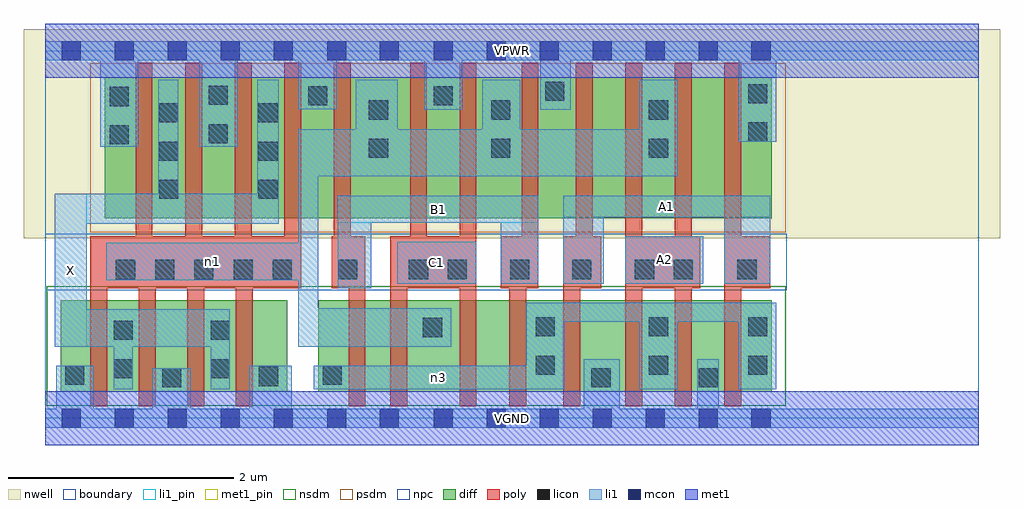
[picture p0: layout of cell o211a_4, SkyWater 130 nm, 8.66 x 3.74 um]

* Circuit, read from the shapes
.subckt o211a_4 A1 A2 B1 C1 VGND VPWR X n1 n3
XM1 X n1 VGND VSUBS sky130_fd_pr__nfet_01v8 w=0.81 l=0.15 m=4
XM2 n2 B1 n3 VSUBS sky130_fd_pr__nfet_01v8 w=0.81 l=0.15
XM3 n1 C1 n2 VSUBS sky130_fd_pr__nfet_01v8 w=0.81 l=0.15
XM4 n4 C1 n1 VSUBS sky130_fd_pr__nfet_01v8 w=0.81 l=0.15
XM5 n3 B1 n4 VSUBS sky130_fd_pr__nfet_01v8 w=0.81 l=0.15
XM6 VGND A1 n3 VSUBS sky130_fd_pr__nfet_01v8 w=0.81 l=0.15 m=2
XM7 n3 A2 VGND VSUBS sky130_fd_pr__nfet_01v8 w=0.81 l=0.15 m=2
XM8 X n1 VPWR n5 sky130_fd_pr__pfet_01v8 w=1.25 l=0.15 m=4
XM9 n1 B1 VPWR n5 sky130_fd_pr__pfet_01v8 w=1.25 l=0.15 m=2
XM10 VPWR C1 n1 n5 sky130_fd_pr__pfet_01v8 w=1.25 l=0.15 m=2
XM11 n6 A1 VPWR n5 sky130_fd_pr__pfet_01v8 w=1.25 l=0.15
XM12 n1 A2 n6 n5 sky130_fd_pr__pfet_01v8 w=1.25 l=0.15
XM13 n7 A2 n1 n5 sky130_fd_pr__pfet_01v8 w=1.25 l=0.15
XM14 VPWR A1 n7 n5 sky130_fd_pr__pfet_01v8 w=1.25 l=0.15
.ends

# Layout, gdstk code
import gdstk
lib = gdstk.Library(unit=1e-6, precision=1e-09)
def R(c, l, rs):  # rectangles x0, y0, x1, y1
    for r in rs: c.add(gdstk.rectangle(r[:2], r[2:], *l))
def A(c, l, x, y, w, h, nx, ny, dx, dy):  # array of equal rectangles
    R(c, l, [(x+i*dx, y+j*dy, x+i*dx+w, y+j*dy+h) for i in range(nx) for j in range(ny)])
nwell = (64, 20)
diff = (65, 20)
poly = (66, 20)
licon = (66, 44)
li1_pin = (67, 16)
li1 = (67, 20)
mcon = (67, 44)
met1_pin = (68, 16)
met1 = (68, 20)
nsdm = (93, 44)
psdm = (94, 20)
npc = (95, 20)
boundary = (235, 4)

o211a_4 = lib.new_cell('o211a_4')
R(o211a_4, nwell, [(-0.19,1.595,8.47,3.45), (0,1.595,8.28,3.45)])
R(o211a_4, diff, [(0.135,0.235,2.145,1.045), (2.42,0.235,6.445,1.045), (0.525,1.775,6.445,3.025)])
A(o211a_4, poly, 0.4, 0.105, 0.15, 1.51, 4, 1, 0.43, 0)
A(o211a_4, poly, 5.145, 0.105, 0.15, 3.05, 3, 1, 0.44, 0)
A(o211a_4, poly, 0.8, 1.155, 0.15, 2, 4, 1, 0.44, 0)
R(o211a_4, poly, [(2.69,0.105,2.84,1.615), (3.06,0.105,3.21,1.615), (3.675,0.105,3.825,3.155), (4.115,0.105,4.265,1.615), (4.595,0.105,4.745,1.615), (0.4,1.155,2.27,1.615), (2.54,1.155,2.84,1.615), (2.56,1.155,2.69,3.155), (3.06,1.155,3.825,1.615), (3.235,1.155,3.385,3.155), (4.04,1.155,4.375,1.615), (4.225,1.155,4.375,3.155), (4.595,1.155,4.93,1.615), (4.705,1.155,4.855,3.155), (5.145,1.155,5.81,1.615), (6.025,1.155,6.43,1.615), (2.56,1.615,2.71,3.155)])
A(o211a_4, licon, 1.01, 1.945, 0.17, 0.17, 1, 3, 0, 0.34)
A(o211a_4, licon, 1.89, 1.945, 0.17, 0.17, 1, 3, 0, 0.34)
R(o211a_4, licon, [(1.035,0.275,1.205,0.445), (4.845,0.275,5.015,0.445), (5.795,0.275,5.965,0.445), (1.895,0.285,2.065,0.455), (0.175,0.295,0.345,0.465), (2.46,0.295,2.63,0.465), (0.605,0.355,0.775,0.525), (1.465,0.355,1.635,0.525), (4.35,0.385,4.52,0.555), (5.355,0.385,5.525,0.555), (6.235,0.385,6.405,0.555), (0.605,0.695,0.775,0.865), (1.465,0.695,1.635,0.865), (3.35,0.72,3.52,0.89), (4.35,0.725,4.52,0.895), (5.355,0.725,5.525,0.895), (6.235,0.725,6.405,0.895), (0.625,1.235,0.795,1.405), (0.975,1.235,1.145,1.405), (1.32,1.235,1.49,1.405), (1.67,1.235,1.84,1.405), (2.015,1.235,2.185,1.405), (2.595,1.235,2.765,1.405), (3.225,1.235,3.395,1.405), (3.57,1.235,3.74,1.405), (4.125,1.235,4.295,1.405), (4.675,1.235,4.845,1.405), (5.23,1.235,5.4,1.405), (5.575,1.235,5.745,1.405), (6.14,1.235,6.31,1.405), (2.87,2.31,3.04,2.48), (3.955,2.31,4.125,2.48), (5.355,2.31,5.525,2.48), (0.57,2.43,0.74,2.6), (1.45,2.44,1.62,2.61), (6.235,2.455,6.405,2.625), (2.87,2.65,3.04,2.82), (3.955,2.65,4.125,2.82), (5.355,2.65,5.525,2.82), (0.57,2.77,0.74,2.94), (2.33,2.775,2.5,2.945), (3.445,2.775,3.615,2.945), (1.45,2.78,1.62,2.95), (6.235,2.795,6.405,2.965), (4.435,2.815,4.605,2.985)])
R(o211a_4, li1_pin, [(0.085,0.635,0.365,1.99), (3.12,1.195,3.825,1.565), (5.145,1.195,5.835,1.615), (2.595,1.735,4.375,1.975), (4.595,1.785,6.43,1.975)])
R(o211a_4, li1, [(0,-0.085,8.28,0.085), (0.095,-0.085,0.43,0.465), (0.95,-0.085,1.29,0.445), (1.81,-0.085,2.185,0.465), (4.775,-0.085,5.095,0.525), (5.785,-0.085,5.975,0.525), (0.605,0.255,0.775,0.965), (1.465,0.255,1.635,0.965), (2.38,0.255,4.605,0.465), (4.265,0.255,4.605,1.025), (5.27,0.255,5.61,1.025), (6.15,0.255,6.485,1.025), (0.085,0.635,1.635,0.965), (0.085,0.635,0.365,1.99), (2.245,0.635,3.6,0.975), (2.245,0.635,2.42,2.565), (0.605,0.775,1.635,0.965), (4.265,0.855,6.485,1.025), (2.595,1.155,2.89,1.975), (3.12,1.195,3.825,1.565), (4.04,1.195,4.375,1.975), (4.595,1.195,4.955,1.975), (5.145,1.195,5.835,1.615), (6.025,1.195,6.43,1.975), (0.54,1.225,2.42,1.555), (0.085,1.725,2.07,1.99), (1,1.725,1.18,3.005), (1.88,1.725,2.07,3.005), (2.595,1.735,4.375,1.975), (4.595,1.785,6.43,1.975), (2.245,2.145,5.61,2.565), (2.755,2.145,3.125,3.005), (3.875,2.145,4.215,3.005), (5.27,2.145,5.61,3.005), (0.485,2.41,0.825,3.345), (1.365,2.41,1.705,3.345), (6.15,2.455,6.485,3.345), (3.36,2.735,3.7,3.345), (4.39,2.735,4.66,3.345), (2.245,2.74,2.585,3.345), (0,3.175,8.28,3.345)])
A(o211a_4, mcon, 0.145, -0.085, 0.17, 0.17, 5, 2, 0.47, 3.26)
A(o211a_4, mcon, 3.445, -0.085, 0.17, 0.17, 7, 2, 0.47, 3.26)
R(o211a_4, mcon, [(2.5,-0.085,2.67,0.085), (2.965,-0.085,3.135,0.085), (2.5,3.175,2.67,3.345), (2.965,3.175,3.135,3.345)])
R(o211a_4, met1_pin, [(0,-0.24,8.28,0.24), (0,3.02,8.28,3.5)])
R(o211a_4, met1, [(0,-0.24,8.28,0.24), (0,3.02,8.28,3.5)])
R(o211a_4, nsdm, [(0.01,0.11,6.57,1.17)])
R(o211a_4, psdm, [(0.4,1.65,6.57,3.15)])
R(o211a_4, npc, [(0,1.135,6.58,1.635)])
R(o211a_4, boundary, [(0,0,8.28,3.26)])
o211a_4.add(gdstk.Label('A1', (5.512,1.88), layer=67, texttype=5))
o211a_4.add(gdstk.Label('A2', (5.49,1.405), layer=67, texttype=5))
o211a_4.add(gdstk.Label('B1', (3.485,1.855), layer=67, texttype=5))
o211a_4.add(gdstk.Label('C1', (3.472,1.38), layer=67, texttype=5))
o211a_4.add(gdstk.Label('X', (0.225,1.312), layer=67, texttype=5))
o211a_4.add(gdstk.Label('n3', (3.492,0.36), layer=67, texttype=5))
o211a_4.add(gdstk.Label('n1', (1.48,1.39), layer=67, texttype=5))
o211a_4.add(gdstk.Label('VPWR', (4.14,3.26), layer=68, texttype=5))
o211a_4.add(gdstk.Label('VGND', (4.14,0), layer=68, texttype=5))
o211a_4.add(gdstk.Label('A1', (5.512,1.88), layer=67, texttype=16))
o211a_4.add(gdstk.Label('A2', (5.49,1.405), layer=67, texttype=16))
o211a_4.add(gdstk.Label('B1', (3.485,1.855), layer=67, texttype=16))
o211a_4.add(gdstk.Label('C1', (3.472,1.38), layer=67, texttype=16))
o211a_4.add(gdstk.Label('X', (0.225,1.312), layer=67, texttype=16))
o211a_4.add(gdstk.Label('VPWR', (4.14,3.26), layer=68, texttype=16))
o211a_4.add(gdstk.Label('VGND', (4.14,0), layer=68, texttype=16))

lib.write_gds('o211a_4.gds')
